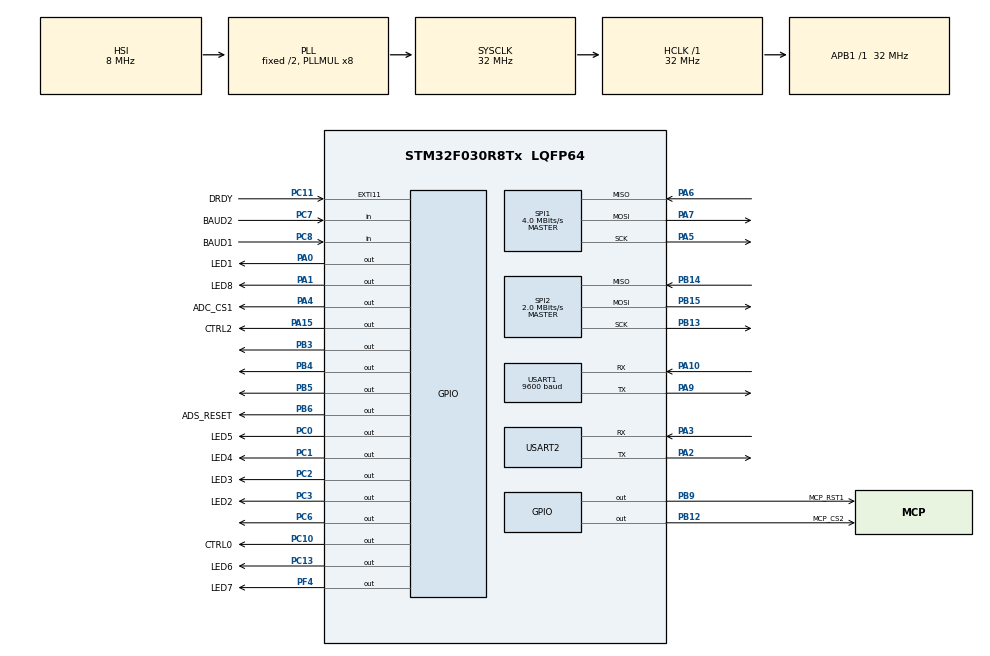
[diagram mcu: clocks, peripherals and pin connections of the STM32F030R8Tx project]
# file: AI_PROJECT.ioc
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Mcu.Family=STM32F0
Mcu.Name=STM32F030R8Tx
Mcu.Package=LQFP64
NVIC.EXTI4_15_IRQn=true\:0\:0\:false\:false\:true\:true\:true\:true
NVIC.RCC_IRQn=true\:0\:0\:false\:false\:true\:true\:false\:true
NVIC.SPI1_IRQn=true\:0\:0\:false\:false\:true\:true\:true\:true
NVIC.SPI2_IRQn=true\:0\:0\:false\:false\:true\:true\:true\:true
NVIC.USART1_IRQn=true\:0\:0\:false\:false\:true\:true\:true\:true
NVIC.USART2_IRQn=true\:0\:0\:false\:false\:true\:true\:true\:true
PA0.GPIO_Label=LED1
PA0.Signal=GPIO_Output
PA1.GPIO_Label=LED8
PA1.Signal=GPIO_Output
PA10.Mode=Asynchronous
PA10.Signal=USART1_RX
PA13.Mode=Serial_Wire
PA13.Signal=SYS_SWDIO
PA14.Mode=Serial_Wire
PA14.Signal=SYS_SWCLK
PA15.GPIO_Label=CTRL2
PA15.Signal=GPIO_Output
PA2.Mode=Asynchronous
PA2.Signal=USART2_TX
PA3.Mode=Asynchronous
PA3.Signal=USART2_RX
PA4.GPIO_Label=ADC_CS1
PA4.Signal=GPIO_Output
PA5.Mode=Full_Duplex_Master
PA5.Signal=SPI1_SCK
PA6.Mode=Full_Duplex_Master
PA6.Signal=SPI1_MISO
PA7.Mode=Full_Duplex_Master
PA7.Signal=SPI1_MOSI
PA9.Mode=Asynchronous
PA9.Signal=USART1_TX
PB12.GPIO_Label=MCP_CS2
PB12.Signal=GPIO_Output
PB13.Mode=Full_Duplex_Master
PB13.Signal=SPI2_SCK
PB14.Mode=Full_Duplex_Master
PB14.Signal=SPI2_MISO
PB15.Mode=Full_Duplex_Master
PB15.Signal=SPI2_MOSI
PB3.Signal=GPIO_Output
PB4.Signal=GPIO_Output
PB5.Signal=GPIO_Output
PB6.GPIO_Label=ADS_RESET
PB6.Signal=GPIO_Output
PB9.GPIO_Label=MCP_RST1
PB9.Signal=GPIO_Output
PC0.GPIO_Label=LED5
PC0.Signal=GPIO_Output
PC1.GPIO_Label=LED4
PC1.Signal=GPIO_Output
PC10.GPIO_Label=CTRL0
PC10.Signal=GPIO_Output
PC11.GPIO_Label=DRDY
PC11.GPIO_ModeDefaultEXTI=GPIO_MODE_IT_FALLING
PC11.GPIO_PuPd=GPIO_PULLUP
PC11.Signal=GPXTI11
PC13.GPIO_Label=LED6
PC13.Signal=GPIO_Output
PC2.GPIO_Label=LED3
PC2.Signal=GPIO_Output
PC3.GPIO_Label=LED2
PC3.Signal=GPIO_Output
PC6.Signal=GPIO_Output
PC7.GPIO_Label=BAUD2
PC7.Signal=GPIO_Input
PC8.GPIO_Label=BAUD1
PC8.Signal=GPIO_Input
PF0-OSC_IN.Mode=HSE-External-Oscillator
PF0-OSC_IN.Signal=RCC_OSC_IN
PF1-OSC_OUT.Mode=HSE-External-Oscillator
PF1-OSC_OUT.Signal=RCC_OSC_OUT
PF4.GPIO_Label=LED7
PF4.Signal=GPIO_Output
ProjectManager.HeapSize=0x200
ProjectManager.StackSize=0x400
ProjectManager.TargetToolchain=STM32CubeIDE
RCC.AHBFreq_Value=32000000
RCC.APB1Freq_Value=32000000
RCC.APB1TimFreq_Value=32000000
RCC.HCLKFreq_Value=32000000
RCC.PLLMUL=RCC_PLL_MUL8
RCC.SYSCLKFreq_VALUE=32000000
RCC.SYSCLKSource=RCC_SYSCLKSOURCE_PLLCLK
SPI1.BaudRatePrescaler=SPI_BAUDRATEPRESCALER_8
SPI1.CLKPhase=SPI_PHASE_2EDGE
SPI1.CalculateBaudRate=4.0 MBits/s
SPI1.DataSize=SPI_DATASIZE_8BIT
SPI1.Direction=SPI_DIRECTION_2LINES
SPI1.Mode=SPI_MODE_MASTER
SPI1.VirtualType=VM_MASTER
SPI2.BaudRatePrescaler=SPI_BAUDRATEPRESCALER_16
SPI2.CLKPhase=SPI_PHASE_1EDGE
SPI2.CLKPolarity=SPI_POLARITY_LOW
SPI2.CalculateBaudRate=2.0 MBits/s
SPI2.DataSize=SPI_DATASIZE_8BIT
SPI2.Direction=SPI_DIRECTION_2LINES
SPI2.Mode=SPI_MODE_MASTER
SPI2.VirtualType=VM_MASTER
USART1.BaudRate=9600
USART1.VirtualMode-Asynchronous=VM_ASYNC
USART2.VirtualMode-Asynchronous=VM_ASYNC
board=custom

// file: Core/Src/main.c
/* USER CODE BEGIN Header */
/**
  ******************************************************************************
  * @file           : main.c
  * @brief          : Main program body
  ******************************************************************************
  * @attention
  *
  * Copyright (c) 2026 STMicroelectronics.
  * All rights reserved.
  *
  * This software is licensed under terms that can be found in the LICENSE file
  * in the root directory of this software component.
  * If no LICENSE file comes with this software, it is provided AS-IS.
  *
  ******************************************************************************
  */
/* USER CODE END Header */
#include "main.h"
#include"storage.h"
#include <stdbool.h>
#include<string.h>
/* USER CODE BEGIN Includes */
uint8_t uart1RxData[UART_RX_BUF_SIZE];
uint8_t uart2RxData[UART_RX_BUF_SIZE];
uint8_t *ptr;
int cnt=0;
uint8_t slave_id=0x01;
uint32_t selectedBaudRate=9600;
uint8_t uart2_rx_byte;
uint8_t uart1_rx_byte;
uint16_t uart1rxcount=0;//todo make static
uint16_t uart2rxcount=0;//todo make static
uint8_t adc_conversion_mode[8]={4,4,4,4,4,4,4,4};//V0_10
int32_t raw1,raw2,raw3;
uint8_t status;
float voltageReading0,voltageReading2,result_temp=0.0;
uint8_t data[UART_RX_BUF_SIZE];
uint32_t indx=0;
uint16_t uart1crc;
uint16_t uart2crc;

eMode_t conversion_mode,conversion_mode1=0;

float supply[8];

const MapEntry configMap[] = {
	{0,MV0_50},
    {1, MV0_100},
	{2, MV0_250},
    {3, V0_5},
    {4, V0_10},
    {5,MA4_20},
	{6,MA0_20},
};

#define ICNT 1

flash_t W_flash={.channalmode={4,4,4,4,4,4,4,4},
		.BaudRate=9600,
		.SlaveID=0x01,
};

flash_t R_flash={.channalmode={4,4,4,4,4,4,4,4},
		.BaudRate=9600,
		.SlaveID=0x01,
};

uint32_t Holding_Registers_Database[100]={0};
RingBuffer_t uart2_rx_rb = { .head = 0, .tail = 0 };
RingBuffer_t uart1_rx_rb = { .head = 0, .tail = 0 };

uint8_t reglen;
uint8_t tx_[MIN_CMD_LEN];

/* USER CODE END Includes */

SPI_HandleTypeDef hspi1;
SPI_HandleTypeDef hspi2;

UART_HandleTypeDef huart1;
UART_HandleTypeDef huart2;

void SystemClock_Config(void);
static void MX_GPIO_Init(void);
static void MX_SPI1_Init(void);
static void MX_SPI2_Init(void);
static void MX_USART1_UART_Init(void);
static void MX_USART2_UART_Init(void);
/* USER CODE BEGIN PFP */
void PollUartBaudRate(void)
{
	uint8_t gpioVal = (HAL_GPIO_ReadPin(BAUD1_GPIO_Port, BAUD1_Pin) << 1) |
	HAL_GPIO_ReadPin(BAUD2_GPIO_Port, BAUD2_Pin);
	static uint32_t prevBaudRate;

	switch (gpioVal)
	{
		case BAUD_9600: selectedBaudRate = 9600; break;
		case BAUD_19200: selectedBaudRate = 19200; break;
		case BAUD_38400: selectedBaudRate = 38400; break;
		case BAUD_115200:selectedBaudRate = 115200; break;
		default: selectedBaudRate = 115200; break;
	}
//	selectedBaudRate=9600;
	 W_flash.BaudRate=selectedBaudRate;

//	 if(W_flash.BaudRate!=R_flash.BaudRate){
//		 Flash_WriteSettings(&W_flash);
//	 }
//	 Flash_ReadSettings(&R_flash);
//	 selectedBaudRate=R_flash.BaudRate;
	// Change baud only if different from previous
	if (selectedBaudRate != prevBaudRate)
	{
		prevBaudRate = selectedBaudRate;

		/* -------- UART3 -------- */
		HAL_UART_AbortReceive(&huart2);
		HAL_Delay(2);
		HAL_UART_DeInit(&huart2);
		huart2.Init.BaudRate = selectedBaudRate;
		HAL_UART_Init(&huart2);
		HAL_UART_Receive_IT(&huart2, &uart2_rx_byte, 1);

		/* -------- UART1 -------- */
		HAL_UART_AbortReceive(&huart1);
		HAL_Delay(2);
		HAL_UART_DeInit(&huart1);
		huart1.Init.BaudRate = selectedBaudRate;
		HAL_UART_Init(&huart1);
		HAL_UART_Receive_IT(&huart1, &uart1_rx_byte, 1);

	}
}

/* USER CODE END PFP */

eMode_t check_and_get_adc_conversion_mode(uint8_t *conversion_mode,channal_t channal){

	for(int i=0;i<sizeof(configMap)/sizeof(MapEntry);i++){
				if(configMap[i].regValue==conversion_mode[channal])
					return configMap[i].config;// set channal on the basis of conversion_mode value

		}
		return configMap[channal].config;//default setting if conversion_mode is mismatch with regValue
}

uint16_t enbit=0;
void set_adc_conversion_mode(uint8_t *conversion_mode,uint8_t channal){

	//for(uint8_t channal=0;channal<8;channal++){
		for(int i=0;i<sizeof(configMap)/sizeof(MapEntry);i++){
					if(configMap[i].regValue==conversion_mode[channal]){
						switch(configMap[i].config){
							case V0_5:
								 enbit |=(1<<channal);//i is bit position set i position bit
								break;
							case V0_10 :
								enbit |=(1<<channal);
								break;

							case MV0_50:
								enbit &=~(1<<channal);//clear i position bit
								break;
							case MV0_100:
								enbit &=~(1<<channal);
								break;
							case MV0_250 :
								enbit &=~(1<<channal);
								break;
							case MA0_20:
								enbit |=(1<<channal);
								break;
							case MA4_20 :
								enbit |=(1<<channal);
								break;

						}

					}

			}

	//}
	input_high(enbit);
}

void HAL_UART_RxCpltCallback(UART_HandleTypeDef *huart)
{
	if(huart->Instance==USART2){
		uint16_t next = (uart2_rx_rb.head + 1) % UART_RX_BUF_SIZE;
		if (next != uart2_rx_rb.tail) {   // buffer not full
			uart2_rx_rb.buffer[uart2_rx_rb.head] = uart2_rx_byte;
			uart2_rx_rb.head = next;
		}
		// Restart interrupt
		HAL_UART_Receive_IT(huart, &uart2_rx_byte, 1);
	}
	else if(huart->Instance==USART1){
		uint16_t next = (uart1_rx_rb.head + 1) % UART_RX_BUF_SIZE;
		if (next != uart1_rx_rb.tail) {   // buffer not full
			uart1_rx_rb.buffer[uart1_rx_rb.head] = uart1_rx_byte;
			uart1_rx_rb.head = next;
		}
		// Restart interrupt
		HAL_UART_Receive_IT(huart, &uart1_rx_byte, 1);

	}
}

uint16_t RingBuffer_GetCount(RingBuffer_t *rb)
{
    if (rb->head >= rb->tail)
        return rb->head - rb->tail;
    else
        return UART_RX_BUF_SIZE - rb->tail + rb->head;
}

int RingBuffer_Read(RingBuffer_t* rb, uint8_t* out)
{
    if (rb->head == rb->tail) return 0;

    *out = rb->buffer[rb->tail];
    rb->tail = (rb->tail + 1) % UART_RX_BUF_SIZE;
    return 1;
}
uint8_t reglen;
uint8_t tx_[MIN_CMD_LEN];
static uint16_t uart1len = 0;
static uint16_t uart2len = 0;
//bool read_multi_reg(UART_HandleTypeDef *uartx){
//
//	    // Minimum required bytes
//	    if(len < MIN_CMD_LEN)
//	        return false;
//
//	    // Extract CRC from last two bytes
//	    uint16_t crc_recv = (RxData[len-1]<<8)|RxData[len-2];
//	    uint16_t crc_calc = crc16(RxData, len - 2);
//	    reglen=len;
//	    // Validate Modbus frame
//	    if(RxData[0] != slave_id)    return false;
//	    if(RxData[1] != MB_WRITE_FC) return false;
//	    if(crc_recv != crc_calc)     return false;
//
//	    uint8_t byte_count = RxData[6];
//
//	    if(len < (7 + byte_count + 2))
//	        return false;  // incomplete frame
//
//	    memset(tx_,0,sizeof(tx_));
//		for(uint8_t i=0;i<len-2;i++){
//			tx_[i]=RxData[i];
//		}
//
//		sendData(tx_,len-2,uartx);
//	    // Copy data values
//	    uint8_t ind = 0;
//	    for(uint8_t i = 0; i < byte_count; i += 2)
//	    {
//	        adc_conversion_mode[ind++] = RxData[8 + i];
//	    }
//	//
//	    return true;
//
//}

bool read_single_reg(UART_HandleTypeDef *uartx){

	    // Minimum required bytes
	if(uartx->Instance==USART1){
	    if(uart1len < 8)
	        return false;

	    // Extract CRC from last two bytes
	    uint16_t crc_recv = (uart1RxData[uart1len-1]<<8)|uart1RxData[uart1len-2];
	    uint16_t crc_calc = crc16(uart1RxData, uart1len - 2);

	    // Validate Modbus frame
	    if(uart1RxData[0] != slave_id)    return false;
	    if(uart1RxData[1] != 0x06) return false;//function code
	    if(crc_recv != crc_calc)     return false;

	    uint8_t tx[8]={0};

	    tx[0]=uart1RxData[0];
	    tx[1]=uart1RxData[1];
	    tx[2]=uart1RxData[2];
	    tx[3]=uart1RxData[3];
	    tx[4]=uart1RxData[4];
	    tx[5]=uart1RxData[5];

	    sendData(tx,6,uartx);
	    if(uart1RxData[3]>20&&uart1RxData[3]<=28){
	    	static uint8_t all_set=0;
	    	adc_conversion_mode[uart1RxData[3]-21] = uart1RxData[5];
			if(uart1RxData[3]==21){
				HAL_GPIO_WritePin(LED1_GPIO_Port, LED1_Pin, SET);
				all_set|=(1<<0);
			}
			else if(uart1RxData[3]==22){
				HAL_GPIO_WritePin(LED2_GPIO_Port, LED2_Pin, SET);
				all_set|=(1<<1);
			}
			else if(uart1RxData[3]==23){
				HAL_GPIO_WritePin(LED3_GPIO_Port, LED3_Pin, SET);
				all_set|=(1<<2);
			}
			else if(uart1RxData[3]==24){
				HAL_GPIO_WritePin(LED4_GPIO_Port, LED4_Pin, SET);
				all_set|=(1<<3);
			}
			else if(uart1RxData[3]==25){
				HAL_GPIO_WritePin(LED5_GPIO_Port, LED5_Pin, SET);
				all_set|=(1<<4);
			}
			else if(uart1RxData[3]==26){
				HAL_GPIO_WritePin(LED6_GPIO_Port, LED6_Pin, SET);
				all_set|=(1<<5);
			}
			else if(uart1RxData[3]==27){
				HAL_GPIO_WritePin(LED8_GPIO_Port, LED8_Pin, SET);

				all_set|=(1<<6);
			}
			else if(uart1RxData[3]==28){
				HAL_GPIO_WritePin(LED7_GPIO_Port, LED7_Pin, SET);
				all_set|=(1<<7);
			}
			if(uart1RxData[5]<8&&all_set==0xFF)set_is_configured();
	    }

	}
	else if(uartx->Instance==USART2){
	    if(uart2len < 8)return false;

	    // Extract CRC from last two bytes
	    uint16_t crc_recv = (uart2RxData[uart2len-1]<<8)|uart2RxData[uart2len-2];
	    uint16_t crc_calc = crc16(uart2RxData, uart2len - 2);

	    // Validate Modbus frame
	    if(uart2RxData[0] != slave_id)    return false;
	    if(uart2RxData[1] != 0x06) return false;//function code
	    if(crc_recv != crc_calc)     return false;
	    uint8_t tx[8]={0};

	    tx[0]=uart2RxData[0];
	    tx[1]=uart2RxData[1];
	    tx[2]=uart2RxData[2];
	    tx[3]=uart2RxData[3];
	    tx[4]=uart2RxData[4];
	    tx[5]=uart2RxData[5];
	    sendData(tx,6,uartx);

	    if(uart2RxData[3]>20&&uart2RxData[3]<=28){
			static uint8_t all_set=0;
			adc_conversion_mode[uart2RxData[3]-21] = uart2RxData[5];
			if(uart2RxData[3]==21){
				HAL_GPIO_WritePin(LED1_GPIO_Port, LED1_Pin, SET);
				all_set|=(1<<0);
			}
			else if(uart2RxData[3]==22){
				HAL_GPIO_WritePin(LED2_GPIO_Port, LED2_Pin, SET);
				all_set|=(1<<1);
			}
			else if(uart2RxData[3]==23){
				HAL_GPIO_WritePin(LED3_GPIO_Port, LED3_Pin, SET);
				all_set|=(1<<2);
			}
			else if(uart2RxData[3]==24){
				HAL_GPIO_WritePin(LED4_GPIO_Port, LED4_Pin, SET);
				all_set|=(1<<3);
			}
			else if(uart2RxData[3]==25){
				HAL_GPIO_WritePin(LED5_GPIO_Port, LED5_Pin, SET);
				all_set|=(1<<4);
			}
			else if(uart2RxData[3]==26){
				HAL_GPIO_WritePin(LED6_GPIO_Port, LED6_Pin, SET);
				all_set|=(1<<5);
			}
			else if(uart2RxData[3]==27){
				HAL_GPIO_WritePin(LED8_GPIO_Port, LED8_Pin, SET);

				all_set|=(1<<6);
			}
			else if(uart2RxData[3]==28){
				HAL_GPIO_WritePin(LED7_GPIO_Port, LED7_Pin, SET);
				all_set|=(1<<7);
			}
			if(uart2RxData[5]<8&&all_set==0xFF)set_is_configured();
		}
	}
	    return true;
}

bool get_adc_conversion_value(uint8_t *adc_conversion_mode,UART_HandleTypeDef *uartx){
	bool status;

	if(uartx->Instance==USART1){
		uart1len=0;
		uart1rxcount= RingBuffer_GetCount(&uart1_rx_rb);
		if(uart1rxcount == 0)
			return false;  // no data yet
		if(uart1rxcount > UART_RX_BUF_SIZE )
			uart1rxcount = UART_RX_BUF_SIZE; // prevent overflow

		 while((uart1rxcount=RingBuffer_GetCount(&uart1_rx_rb))){
			 RingBuffer_Read(&uart1_rx_rb, &uart1RxData[uart1len++]);
			 HAL_Delay(1);
		 }
	}
	else if(uartx->Instance==USART2){
		uart2len=0;

		uart2rxcount= RingBuffer_GetCount(&uart2_rx_rb);
		if(uart2rxcount==0)
			return false;  // no data yet

		if(uart2rxcount > UART_RX_BUF_SIZE )
			uart2rxcount = UART_RX_BUF_SIZE; // prevent overflow

		while((uart2rxcount=RingBuffer_GetCount(&uart2_rx_rb))){
			 RingBuffer_Read(&uart2_rx_rb, &uart2RxData[uart2len++]);
			 HAL_Delay(1);
		 }
	}
	read_single_reg(uartx)?(status =true ):(status =false);
	//read_multi_reg()?(status= true) :(status= false);

    return status;
}
int channal=0x00;
//void HAL_GPIO_EXTI_Callback(uint16_t GPIO_Pin){
//	static int  i=0;
//
//	cnt++;
//	if(i>7){
//		channal=0;
//		i=0;
//	}
//
//	     //ADS1247_write_register(REG_MUX0,1,((channal>>1)|N_AIN7));
////		 raw1=ADS1247_ReadData(P_AIN0);
////		 sum += raw1;
////
////		raw1=sum/ICNT;
////		voltageReading0=ads1247_raw_to_voltage(raw1, 2.049, 1);
////		supply[channal_0+i]=get_supply(voltageReading0,conversion_mode1);
////		channal+=16;
//}

/* USER CODE END PFP */

void ads_main(){
	//ADS1247_write_register(REG_MUX0,1,((channal>>1)|N_AIN7));
	//HAL_Delay(150);
//	sum=0;
//	set_adc_conversion_mode(adc_conversion_mode);
//	conversion_mode1=check_and_get_adc_conversion_mode(adc_conversion_mode,channal_0);//check channal configuration mode value and get conversion mode
		//if (HAL_GPIO_ReadPin(DRDY_PORT, DRDY_PIN) == GPIO_PIN_RESET){
		//	for(int i=0;i<ICNT;i++){
//			 raw1=ADS1247_ReadData(P_AIN0);
//			 sum += raw1;
//			}

}
int main(void)
{

  /* USER CODE BEGIN 1 */

	int32_t sum=0;
  /* USER CODE END 1 */

  /* MCU Configuration--------------------------------------------------------*/

  /* Reset of all peripherals, Initializes the Flash interface and the Systick. */
  HAL_Init();

  /* Configure the system clock */
  SystemClock_Config();

  /* Initialize all configured peripherals */
  MX_GPIO_Init();
  MX_SPI1_Init();
  MX_SPI2_Init();
  MX_USART1_UART_Init();
  MX_USART2_UART_Init();
  /* USER CODE BEGIN 2 */
  RST_HIGH_B();
  csHIGH_B();
  enable_MCPA_B();
  port_configA_B();
  latch_configA_B();
  enable_MCPB_B();
  port_configB_B();
  polarity_configB_B();
  latch_configB_B();

  CS_HIGH;//asd1247 cs

  ADS1247_begin();

    if(get_is_configured()==SET){
		HAL_GPIO_WritePin(LED1_GPIO_Port, LED1_Pin, SET);
		HAL_GPIO_WritePin(LED2_GPIO_Port, LED2_Pin, SET);
		HAL_GPIO_WritePin(LED3_GPIO_Port, LED3_Pin, SET);
		HAL_GPIO_WritePin(LED4_GPIO_Port, LED4_Pin, SET);
		HAL_GPIO_WritePin(LED5_GPIO_Port, LED5_Pin, SET);
		HAL_GPIO_WritePin(LED6_GPIO_Port, LED6_Pin, SET);
		HAL_GPIO_WritePin(LED7_GPIO_Port, LED7_Pin, SET);
		HAL_GPIO_WritePin(LED8_GPIO_Port, LED8_Pin, SET);
//
    }
  /* USER CODE END 2 */

  /* Infinite loop */
  /* USER CODE BEGIN WHILE */
	while(1){
 		 uint8_t len=0;

 		 slave_id=GPIO_readA_B();

 		 W_flash.SlaveID=slave_id;

 		 PollUartBaudRate();//configure baudrate for mb

 		 if(true==get_adc_conversion_value(adc_conversion_mode,&huart1));
 		 if(true==get_adc_conversion_value(adc_conversion_mode,&huart2));

 		 memcpy(W_flash.channalmode,adc_conversion_mode,8);

 /*save channal configuration in flash*/
 		 if(memcmp(W_flash.channalmode,R_flash.channalmode,8)!=0/*||get_is_configured()==0*/){

 			 Flash_WriteSettings(&W_flash);
 //			 set_is_configured();
 		 }
 		 Flash_ReadSettings(&R_flash);
 		// memcpy(adc_conversion_mode,R_flash.channalmode,8);

 		channal=0;
		for(int i=0;i<1;i++){
			ADS1247_write_register(REG_MUX0,1,((channal>>1)|N_AIN7));
			sum=0;
			set_adc_conversion_mode(adc_conversion_mode[i],i);
//			HAL_Delay(400);
			conversion_mode1=check_and_get_adc_conversion_mode(adc_conversion_mode,channal_0+i);//check channal configuration mode value and get conversion mode

				if (HAL_GPIO_ReadPin(DRDY_PORT, DRDY_PIN) == GPIO_PIN_RESET){
					for(int i=0;i<ICNT;i++){
					 raw1=ADS1247_ReadData(P_AIN0);
					 //sum += raw1;
					}
				}
			voltageReading0=ads1247_raw_to_voltage(raw1, 2.501, 1);
			supply[channal_0+i]=get_supply(voltageReading0,conversion_mode1);
			 uart1crc=(uart1RxData[CRC_HIGH]<<8)|uart1RxData[CRC_LOW];
			 uart2crc=(uart2RxData[CRC_HIGH]<<8)|uart2RxData[CRC_LOW];
			 if( (uart1RxData[0]==slave_id) &&(uart1RxData[1]==0x03) &&(uart1crc==crc16(uart1RxData, CMD_LEN)) ){

				 memcpy(&Holding_Registers_Database[channal_0],&supply[channal_0],4);
				 memcpy(&Holding_Registers_Database[channal_1],&supply[channal_1],4);
				 memcpy(&Holding_Registers_Database[channal_2],&supply[channal_2],4);
				 memcpy(&Holding_Registers_Database[channal_3],&supply[channal_3],4);
				 memcpy(&Holding_Registers_Database[channal_4],&supply[channal_4],4);
				 memcpy(&Holding_Registers_Database[channal_5],&supply[channal_5],4);
				 memcpy(&Holding_Registers_Database[channal_6],&supply[channal_6],4);
				 memcpy(&Holding_Registers_Database[channal_7],&supply[channal_7],4);

				 writeHoldingRegs(UINT32_T,&huart1);
////				 cmd_cnt++;
				 memset(uart1RxData,0,sizeof(uart1RxData));

			}
			else if( (uart2RxData[0]==slave_id)&&(uart2RxData[1]==0x03)&&(uart2crc==crc16(uart2RxData, CMD_LEN)) ){

				 memcpy(&Holding_Registers_Database[channal_0],&supply[channal_0],4);
				 memcpy(&Holding_Registers_Database[channal_1],&supply[channal_1],4);
				 memcpy(&Holding_Registers_Database[channal_2],&supply[channal_2],4);
				 memcpy(&Holding_Registers_Database[channal_3],&supply[channal_3],4);
				 memcpy(&Holding_Registers_Database[channal_4],&supply[channal_4],4);
				 memcpy(&Holding_Registers_Database[channal_5],&supply[channal_5],4);
				 memcpy(&Holding_Registers_Database[channal_6],&supply[channal_6],4);
				 memcpy(&Holding_Registers_Database[channal_7],&supply[channal_7],4);

				 writeHoldingRegs(UINT32_T,&huart2);
//				 cmd_cnt++;

				 memset(uart2RxData,0,sizeof(uart2RxData));
			}
			else if((uart1RxData[0]==slave_id)&&(uart1RxData[1]==0x06)){
				read_single_reg(&huart1)?(status =true ):(status =false);
			}
		}

/*******************************************************************************************************************/
 	}
  /* USER CODE END 3 */
}

void SystemClock_Config(void)
{
  RCC_OscInitTypeDef RCC_OscInitStruct = {0};
  RCC_ClkInitTypeDef RCC_ClkInitStruct = {0};
  RCC_PeriphCLKInitTypeDef PeriphClkInit = {0};

  /** Initializes the RCC Oscillators according to the specified parameters
  * in the RCC_OscInitTypeDef structure.
  */
  RCC_OscInitStruct.OscillatorType = RCC_OSCILLATORTYPE_HSI;
  RCC_OscInitStruct.HSIState = RCC_HSI_ON;
  RCC_OscInitStruct.HSICalibrationValue = RCC_HSICALIBRATION_DEFAULT;
  RCC_OscInitStruct.PLL.PLLState = RCC_PLL_ON;
  RCC_OscInitStruct.PLL.PLLSource = RCC_PLLSOURCE_HSI;
  RCC_OscInitStruct.PLL.PLLMUL = RCC_PLL_MUL8;
  RCC_OscInitStruct.PLL.PREDIV = RCC_PREDIV_DIV1;
  if (HAL_RCC_OscConfig(&RCC_OscInitStruct) != HAL_OK)
  {
    Error_Handler();
  }

  /** Initializes the CPU, AHB and APB buses clocks
  */
  RCC_ClkInitStruct.ClockType = RCC_CLOCKTYPE_HCLK|RCC_CLOCKTYPE_SYSCLK
                              |RCC_CLOCKTYPE_PCLK1;
  RCC_ClkInitStruct.SYSCLKSource = RCC_SYSCLKSOURCE_PLLCLK;
  RCC_ClkInitStruct.AHBCLKDivider = RCC_SYSCLK_DIV1;
  RCC_ClkInitStruct.APB1CLKDivider = RCC_HCLK_DIV1;

  if (HAL_RCC_ClockConfig(&RCC_ClkInitStruct, FLASH_LATENCY_1) != HAL_OK)
  {
    Error_Handler();
  }
  PeriphClkInit.PeriphClockSelection = RCC_PERIPHCLK_USART1;
  PeriphClkInit.Usart1ClockSelection = RCC_USART1CLKSOURCE_PCLK1;
  if (HAL_RCCEx_PeriphCLKConfig(&PeriphClkInit) != HAL_OK)
  {
    Error_Handler();
  }
}

static void MX_SPI1_Init(void)
{

  /* SPI1 parameter configuration*/
  hspi1.Instance = SPI1;
  hspi1.Init.Mode = SPI_MODE_MASTER;
  hspi1.Init.Direction = SPI_DIRECTION_2LINES;
  hspi1.Init.DataSize = SPI_DATASIZE_8BIT;
  hspi1.Init.CLKPolarity = SPI_POLARITY_LOW;
  hspi1.Init.CLKPhase = SPI_PHASE_2EDGE;
  hspi1.Init.NSS = SPI_NSS_SOFT;
  hspi1.Init.BaudRatePrescaler = SPI_BAUDRATEPRESCALER_8;
  hspi1.Init.FirstBit = SPI_FIRSTBIT_MSB;
  hspi1.Init.TIMode = SPI_TIMODE_DISABLE;
  hspi1.Init.CRCCalculation = SPI_CRCCALCULATION_DISABLE;
  hspi1.Init.CRCPolynomial = 7;
  hspi1.Init.CRCLength = SPI_CRC_LENGTH_DATASIZE;
  hspi1.Init.NSSPMode = SPI_NSS_PULSE_DISABLE;
  if (HAL_SPI_Init(&hspi1) != HAL_OK)
  {
    Error_Handler();
  }

}

static void MX_SPI2_Init(void)
{

  /* SPI2 parameter configuration*/
  hspi2.Instance = SPI2;
  hspi2.Init.Mode = SPI_MODE_MASTER;
  hspi2.Init.Direction = SPI_DIRECTION_2LINES;
  hspi2.Init.DataSize = SPI_DATASIZE_8BIT;
  hspi2.Init.CLKPolarity = SPI_POLARITY_LOW;
  hspi2.Init.CLKPhase = SPI_PHASE_1EDGE;
  hspi2.Init.NSS = SPI_NSS_SOFT;
  hspi2.Init.BaudRatePrescaler = SPI_BAUDRATEPRESCALER_16;
  hspi2.Init.FirstBit = SPI_FIRSTBIT_MSB;
  hspi2.Init.TIMode = SPI_TIMODE_DISABLE;
  hspi2.Init.CRCCalculation = SPI_CRCCALCULATION_DISABLE;
  hspi2.Init.CRCPolynomial = 7;
  hspi2.Init.CRCLength = SPI_CRC_LENGTH_DATASIZE;
  hspi2.Init.NSSPMode = SPI_NSS_PULSE_ENABLE;
  if (HAL_SPI_Init(&hspi2) != HAL_OK)
  {
    Error_Handler();
  }

}

static void MX_USART1_UART_Init(void)
{

  huart1.Instance = USART1;
  huart1.Init.BaudRate = 9600;
  huart1.Init.WordLength = UART_WORDLENGTH_8B;
  huart1.Init.StopBits = UART_STOPBITS_1;
  huart1.Init.Parity = UART_PARITY_NONE;
  huart1.Init.Mode = UART_MODE_TX_RX;
  huart1.Init.HwFlowCtl = UART_HWCONTROL_NONE;
  huart1.Init.OverSampling = UART_OVERSAMPLING_16;
  huart1.Init.OneBitSampling = UART_ONE_BIT_SAMPLE_DISABLE;
  huart1.AdvancedInit.AdvFeatureInit = UART_ADVFEATURE_NO_INIT;
  if (HAL_UART_Init(&huart1) != HAL_OK)
  {
    Error_Handler();
  }
  /* USER CODE BEGIN USART1_Init 2 */
 // HAL_UART_Receive_IT(&huart1, &uart1_rx_byte, 1);
  /* USER CODE END USART1_Init 2 */

}

static void MX_USART2_UART_Init(void)
{

  huart2.Instance = USART2;
  huart2.Init.BaudRate = 38400;
  huart2.Init.WordLength = UART_WORDLENGTH_8B;
  huart2.Init.StopBits = UART_STOPBITS_1;
  huart2.Init.Parity = UART_PARITY_NONE;
  huart2.Init.Mode = UART_MODE_TX_RX;
  huart2.Init.HwFlowCtl = UART_HWCONTROL_NONE;
  huart2.Init.OverSampling = UART_OVERSAMPLING_16;
  huart2.Init.OneBitSampling = UART_ONE_BIT_SAMPLE_DISABLE;
  huart2.AdvancedInit.AdvFeatureInit = UART_ADVFEATURE_NO_INIT;
  if (HAL_UART_Init(&huart2) != HAL_OK)
  {
    Error_Handler();
  }
  /* USER CODE BEGIN USART2_Init 2 */
//  HAL_UART_Receive_IT(&huart2, &uart2_rx_byte, 1);
  /* USER CODE END USART2_Init 2 */

}

static void MX_GPIO_Init(void)
{
  GPIO_InitTypeDef GPIO_InitStruct = {0};

  /* GPIO Ports Clock Enable */
  __HAL_RCC_GPIOC_CLK_ENABLE();
  __HAL_RCC_GPIOF_CLK_ENABLE();
  __HAL_RCC_GPIOA_CLK_ENABLE();
  __HAL_RCC_GPIOB_CLK_ENABLE();

  /*Configure GPIO pin Output Level */
  HAL_GPIO_WritePin(GPIOC, LED6_Pin|LED5_Pin|LED4_Pin|LED3_Pin
                          |LED2_Pin|GPIO_PIN_6|CTRL0_Pin, GPIO_PIN_RESET);

  /*Configure GPIO pin Output Level */
  HAL_GPIO_WritePin(GPIOA, LED1_Pin|LED8_Pin|ADC_CS1_Pin|CTRL2_Pin, GPIO_PIN_RESET);

  /*Configure GPIO pin Output Level */
  HAL_GPIO_WritePin(LED7_GPIO_Port, LED7_Pin, GPIO_PIN_RESET);

  /*Configure GPIO pin Output Level */
  HAL_GPIO_WritePin(GPIOB, MCP_CS2_Pin|GPIO_PIN_3|GPIO_PIN_4|GPIO_PIN_5
                          |ADS_RESET_Pin|MCP_RST1_Pin, GPIO_PIN_RESET);

  /*Configure GPIO pins : LED6_Pin LED5_Pin LED4_Pin LED3_Pin
                           LED2_Pin PC6 CTRL0_Pin */
  GPIO_InitStruct.Pin = LED6_Pin|LED5_Pin|LED4_Pin|LED3_Pin
                          |LED2_Pin|GPIO_PIN_6|CTRL0_Pin;
  GPIO_InitStruct.Mode = GPIO_MODE_OUTPUT_PP;
  GPIO_InitStruct.Pull = GPIO_NOPULL;
  GPIO_InitStruct.Speed = GPIO_SPEED_FREQ_LOW;
  HAL_GPIO_Init(GPIOC, &GPIO_InitStruct);

  /*Configure GPIO pins : LED1_Pin LED8_Pin ADC_CS1_Pin CTRL2_Pin */
  GPIO_InitStruct.Pin = LED1_Pin|LED8_Pin|ADC_CS1_Pin|CTRL2_Pin;
  GPIO_InitStruct.Mode = GPIO_MODE_OUTPUT_PP;
  GPIO_InitStruct.Pull = GPIO_NOPULL;
  GPIO_InitStruct.Speed = GPIO_SPEED_FREQ_LOW;
  HAL_GPIO_Init(GPIOA, &GPIO_InitStruct);

  /*Configure GPIO pin : LED7_Pin */
  GPIO_InitStruct.Pin = LED7_Pin;
  GPIO_InitStruct.Mode = GPIO_MODE_OUTPUT_PP;
  GPIO_InitStruct.Pull = GPIO_NOPULL;
  GPIO_InitStruct.Speed = GPIO_SPEED_FREQ_LOW;
  HAL_GPIO_Init(LED7_GPIO_Port, &GPIO_InitStruct);

  /*Configure GPIO pins : MCP_CS2_Pin PB3 PB4 PB5
                           ADS_RESET_Pin MCP_RST1_Pin */
  GPIO_InitStruct.Pin = MCP_CS2_Pin|GPIO_PIN_3|GPIO_PIN_4|GPIO_PIN_5
                          |ADS_RESET_Pin|MCP_RST1_Pin;
  GPIO_InitStruct.Mode = GPIO_MODE_OUTPUT_PP;
  GPIO_InitStruct.Pull = GPIO_NOPULL;
  GPIO_InitStruct.Speed = GPIO_SPEED_FREQ_LOW;
  HAL_GPIO_Init(GPIOB, &GPIO_InitStruct);

  /*Configure GPIO pins : BAUD2_Pin BAUD1_Pin */
  GPIO_InitStruct.Pin = BAUD2_Pin|BAUD1_Pin;
  GPIO_InitStruct.Mode = GPIO_MODE_INPUT;
  GPIO_InitStruct.Pull = GPIO_NOPULL;
  HAL_GPIO_Init(GPIOC, &GPIO_InitStruct);

  /*Configure GPIO pin : DRDY_Pin */
  GPIO_InitStruct.Pin = DRDY_Pin;
  GPIO_InitStruct.Mode = GPIO_MODE_IT_FALLING;
  GPIO_InitStruct.Pull = GPIO_PULLUP;
  HAL_GPIO_Init(DRDY_GPIO_Port, &GPIO_InitStruct);

  /* EXTI interrupt init*/
  HAL_NVIC_SetPriority(EXTI4_15_IRQn, 0, 0);
  HAL_NVIC_EnableIRQ(EXTI4_15_IRQn);

}

void Error_Handler(void)
{
  __disable_irq();
  while (1)
  {
  }
}
